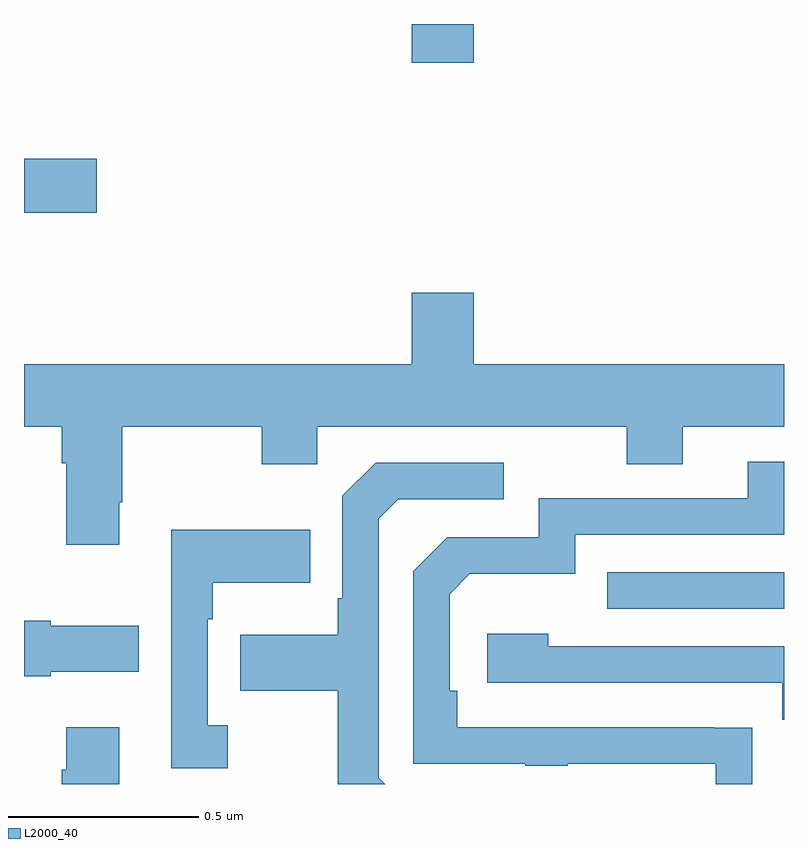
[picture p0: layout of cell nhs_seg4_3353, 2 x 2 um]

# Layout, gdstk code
import gdstk
lib = gdstk.Library(unit=1e-6, precision=1e-09)
def R(c, l, rs):  # rectangles x0, y0, x1, y1
    for r in rs: c.add(gdstk.rectangle(r[:2], r[2:], *l))
def P(c, l, *ps):  # polygons
    for p in ps: c.add(gdstk.Polygon(p, *l))
L2000_40 = (2000, 40)

nhs_seg4_3353 = lib.new_cell('nhs_seg4_3353')
R(nhs_seg4_3353, L2000_40, [(153.535,776.361,154,776.457), (152,777.403,152.191,777.545), (153.02,777.798,153.184,777.9)])
P(nhs_seg4_3353, L2000_40, [(152.251,776.641),(152.259,776.641),(152.259,776.84),(152.626,776.84),(152.626,776.741),(152.772,776.741),(152.772,776.84),(153.586,776.84),(153.586,776.741),(153.733,776.741),(153.733,776.84),(154,776.84),(154,777.004),(153.184,777.004),(153.184,777.193),(153.02,777.193),(153.02,777.004),(152,777.004),(152,776.84),(152.099,776.84),(152.099,776.744),(152.111,776.744),(152.111,776.529),(152.251,776.529)],
  [(153.917,776.048),(153.815,776.048),(153.815,776.049),(153.14,776.049),(153.14,776.146),(153.12,776.146),(153.12,776.4),(153.173,776.453),(153.45,776.453),(153.45,776.556),(154,776.556),(154,776.748),(153.905,776.748),(153.905,776.652),(153.354,776.652),(153.354,776.55),(153.114,776.55),(153.024,776.46),(153.024,775.953),(153.319,775.953),(153.319,775.948),(153.431,775.948),(153.431,775.953),(153.821,775.953),(153.821,775.9),(153.917,775.9)],
  [(152.934,775.917),(152.934,776.598),(152.985,776.649),(153.262,776.649),(153.262,776.745),(152.925,776.745),(152.838,776.658),(152.838,776.389),(152.826,776.389),(152.826,776.293),(152.569,776.293),(152.569,776.146),(152.826,776.146),(152.826,775.9),(152.951,775.9)],
  [(152.536,776.054),(152.484,776.054),(152.484,776.333),(152.497,776.333),(152.497,776.429),(152.753,776.429),(152.753,776.569),(152.388,776.569),(152.388,775.941),(152.536,775.941)],
  [(152.071,776.195),(152.302,776.195),(152.302,776.317),(152.071,776.317),(152.071,776.33),(152,776.33),(152,776.183),(152.071,776.183)],
  [(154,776.262),(153.38,776.262),(153.38,776.296),(153.219,776.296),(153.219,776.166),(153.995,776.166),(153.995,776.069),(154,776.069)],
  [(152.251,776.05),(152.111,776.05),(152.111,775.937),(152.099,775.937),(152.099,775.9),(152.251,775.9)])

lib.write_gds('nhs_seg4_3353.gds')
